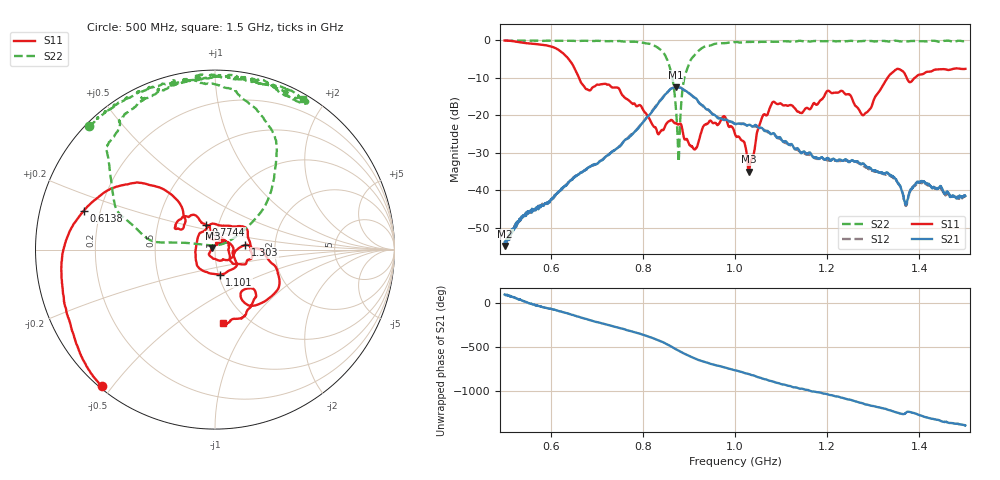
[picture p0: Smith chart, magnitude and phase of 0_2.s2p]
!Agilent Technologies,E8364B,US42250235,A.06.04.32
!Agilent E8364B: A.06.04.32
!Date: Friday, January 15, 2021 16:22:33
!Correction: S11(Full 2 Port(1,2)) S21(Full 2 Port(1,2)) S12(Full 2 Port(1,2)) S22(Full 2 Port(1,2))
!S2P File: Measurements: S11, S21, S12, S22:
# Hz S  dB  R 50
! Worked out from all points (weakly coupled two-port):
!   1601 points, 500 MHz to 1.5 GHz, reference 50 ohm
!   highest |S21| = -12.60 dB at 871.2 MHz (marker M1); lowest = -54.8 dB at 501.2 MHz (marker M2)
!   lowest |S11| = -35.0 dB at 1.03 GHz (marker M3), VSWR 1.04, Z = 48.5 + j0.925 ohm
!   |S11| at or under -10 dB: 661.2 MHz to 1.331 GHz (670.1 MHz wide, 67.3 % of centre); 1.372 GHz to 1.391 GHz (18.25 MHz wide, 1.32 % of centre)
!   |S22| runs from -32.4 to -0.1 dB; largest |S21 - S12| = 0.0084
!   S11 on the Smith chart (normalised r, x): 500 MHz: 0.01, -0.47; 613.8 MHz: 0.14, +0.14; 774.4 MHz: 0.87, +0.25; 1.101 GHz: 1.01, -0.29; 1.303 GHz: 1.40, +0.07; 1.5 GHz: 0.76, -0.76
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5e8  -0.11 -129.8  -54.46 98.1  -54.45 96.5  -0.15 135.6
5.0125e8  -0.12 -130.3  -54.82 92.0  -54.59 98.8  -0.16 135.5
6.1375e8  -2.36 163.4  -40.85 -83.2  -40.83 -84.0  -0.19 123.2
6.66875e8  -11.49 131.6  -35.28 -165.9  -35.25 -166.1  -0.21 115.7
7.74375e8  -16.63 110.2  -25.42 39.6  -25.25 38.6  -0.45 96.8
8.3375e8  -25.12 99.3  -16.78 -63.5  -16.64 -64.5  -2.12 69.9
8.58125e8  -21.58 109.7  -13.26 -124.5  -13.26 -125.7  -7.12 45.5
8.7125e8  -22.09 76.6  -12.60 -164.4  -12.57 -165.3  -17.31 31.9
8.78125e8  -22.47 68.5  -12.70 176.6  -12.69 175.5  -31.83 115.0
8.9e8  -26.28 48.6  -13.38 143.2  -13.34 141.8  -10.10 172.5
9.1125e8  -29.04 71.0  -15.33 93.0  -15.20 91.4  -4.14 154.7
9.45e8  -21.51 25.5  -18.84 30.3  -18.96 30.0  -1.48 132.8
1e9  -24.97 -81.8  -22.37 -46.6  -22.25 -47.6  -0.56 114.8
1.03e9  -35.02 147.5  -22.57 -89.9  -22.81 -92.9  -0.51 109.5
1.06e9  -20.26 13.8  -23.63 -142.0  -23.73 -142.3  -0.48 104.8
1.100625e9  -17.00 -79.2  -26.44 155.0  -26.47 154.7  -0.34 99.2
1.166875e9  -17.64 109.2  -30.75 72.0  -30.97 73.0  -0.35 90.4
1.303125e9  -15.37 8.6  -34.86 -98.5  -34.99 -98.8  -0.39 79.0
1.33375e9  -9.59 -14.0  -35.69 -141.2  -35.98 -140.4  -0.38 75.5
1.370625e9  -9.51 -61.1  -43.88 -172.0  -44.19 -174.1  -0.30 72.2
1.40125e9  -9.18 -48.9  -37.81 160.0  -37.81 159.0  -0.34 70.0
1.5e9  -7.67 -84.2  -41.53 44.3  -41.95 41.8  -0.23 59.7
